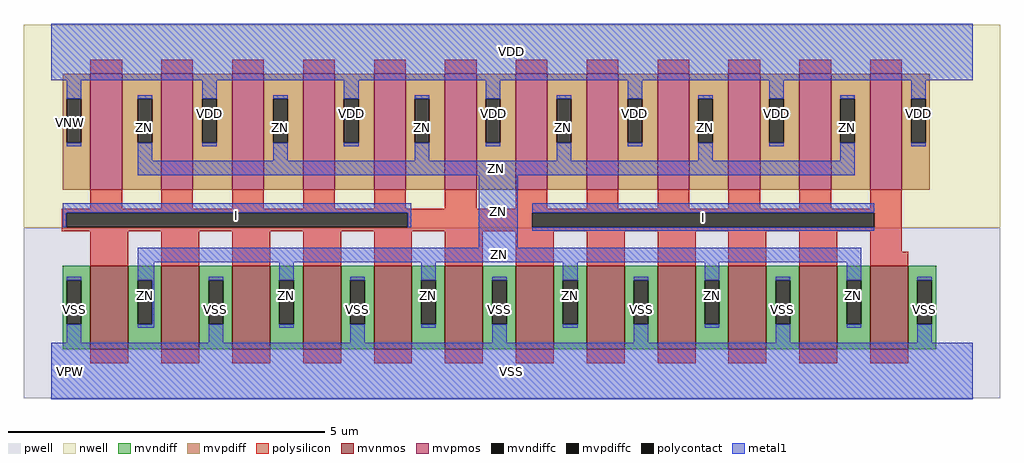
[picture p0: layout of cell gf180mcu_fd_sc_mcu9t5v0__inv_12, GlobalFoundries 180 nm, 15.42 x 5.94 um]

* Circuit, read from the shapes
.subckt gf180mcu_fd_sc_mcu9t5v0__inv_12 I ZN VDD VNW VPW VSS
XM1 ZN I VSS VPW nfet_06v0 w=1.32u l=0.6u m=12
XM2 ZN I VDD VNW pfet_06v0 w=1.83u l=0.5u m=12
.ends

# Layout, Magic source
magic
tech gf180mcuD
magscale 1 10
<< nwell >>
rect -86 453 2998 1094
<< pwell >>
rect -86 -86 2998 453
<< mvnmos >>
rect 124 69 244 333
rect 348 69 468 333
rect 572 69 692 333
rect 796 69 916 333
rect 1020 69 1140 333
rect 1244 69 1364 333
rect 1468 69 1588 333
rect 1692 69 1812 333
rect 1916 69 2036 333
rect 2140 69 2260 333
rect 2364 69 2484 333
rect 2588 69 2708 333
<< mvpmos >>
rect 124 573 224 939
rect 348 573 448 939
rect 572 573 672 939
rect 796 573 896 939
rect 1020 573 1120 939
rect 1244 573 1344 939
rect 1468 573 1568 939
rect 1692 573 1792 939
rect 1916 573 2016 939
rect 2140 573 2240 939
rect 2364 573 2464 939
rect 2588 573 2688 939
<< mvndiff >>
rect 36 287 124 333
rect 36 147 49 287
rect 95 147 124 287
rect 36 69 124 147
rect 244 287 348 333
rect 244 147 273 287
rect 319 147 348 287
rect 244 69 348 147
rect 468 287 572 333
rect 468 147 497 287
rect 543 147 572 287
rect 468 69 572 147
rect 692 287 796 333
rect 692 147 721 287
rect 767 147 796 287
rect 692 69 796 147
rect 916 287 1020 333
rect 916 147 945 287
rect 991 147 1020 287
rect 916 69 1020 147
rect 1140 287 1244 333
rect 1140 147 1169 287
rect 1215 147 1244 287
rect 1140 69 1244 147
rect 1364 287 1468 333
rect 1364 147 1393 287
rect 1439 147 1468 287
rect 1364 69 1468 147
rect 1588 287 1692 333
rect 1588 147 1617 287
rect 1663 147 1692 287
rect 1588 69 1692 147
rect 1812 287 1916 333
rect 1812 147 1841 287
rect 1887 147 1916 287
rect 1812 69 1916 147
rect 2036 287 2140 333
rect 2036 147 2065 287
rect 2111 147 2140 287
rect 2036 69 2140 147
rect 2260 287 2364 333
rect 2260 147 2289 287
rect 2335 147 2364 287
rect 2260 69 2364 147
rect 2484 287 2588 333
rect 2484 147 2513 287
rect 2559 147 2588 287
rect 2484 69 2588 147
rect 2708 287 2796 333
rect 2708 147 2737 287
rect 2783 147 2796 287
rect 2708 69 2796 147
<< mvpdiff >>
rect 36 861 124 939
rect 36 721 49 861
rect 95 721 124 861
rect 36 573 124 721
rect 224 861 348 939
rect 224 721 273 861
rect 319 721 348 861
rect 224 573 348 721
rect 448 861 572 939
rect 448 721 477 861
rect 523 721 572 861
rect 448 573 572 721
rect 672 861 796 939
rect 672 721 701 861
rect 747 721 796 861
rect 672 573 796 721
rect 896 861 1020 939
rect 896 721 925 861
rect 971 721 1020 861
rect 896 573 1020 721
rect 1120 861 1244 939
rect 1120 721 1149 861
rect 1195 721 1244 861
rect 1120 573 1244 721
rect 1344 861 1468 939
rect 1344 721 1373 861
rect 1419 721 1468 861
rect 1344 573 1468 721
rect 1568 861 1692 939
rect 1568 721 1597 861
rect 1643 721 1692 861
rect 1568 573 1692 721
rect 1792 861 1916 939
rect 1792 721 1821 861
rect 1867 721 1916 861
rect 1792 573 1916 721
rect 2016 861 2140 939
rect 2016 721 2045 861
rect 2091 721 2140 861
rect 2016 573 2140 721
rect 2240 861 2364 939
rect 2240 721 2269 861
rect 2315 721 2364 861
rect 2240 573 2364 721
rect 2464 861 2588 939
rect 2464 721 2493 861
rect 2539 721 2588 861
rect 2464 573 2588 721
rect 2688 861 2776 939
rect 2688 721 2717 861
rect 2763 721 2776 861
rect 2688 573 2776 721
<< mvndiffc >>
rect 49 147 95 287
rect 273 147 319 287
rect 497 147 543 287
rect 721 147 767 287
rect 945 147 991 287
rect 1169 147 1215 287
rect 1393 147 1439 287
rect 1617 147 1663 287
rect 1841 147 1887 287
rect 2065 147 2111 287
rect 2289 147 2335 287
rect 2513 147 2559 287
rect 2737 147 2783 287
<< mvpdiffc >>
rect 49 721 95 861
rect 273 721 319 861
rect 477 721 523 861
rect 701 721 747 861
rect 925 721 971 861
rect 1149 721 1195 861
rect 1373 721 1419 861
rect 1597 721 1643 861
rect 1821 721 1867 861
rect 2045 721 2091 861
rect 2269 721 2315 861
rect 2493 721 2539 861
rect 2717 721 2763 861
<< polysilicon >>
rect 124 939 224 983
rect 348 939 448 983
rect 572 939 672 983
rect 796 939 896 983
rect 1020 939 1120 983
rect 1244 939 1344 983
rect 1468 939 1568 983
rect 1692 939 1792 983
rect 1916 939 2016 983
rect 2140 939 2240 983
rect 2364 939 2464 983
rect 2588 939 2688 983
rect 124 513 224 573
rect 348 513 448 573
rect 572 513 672 573
rect 796 513 896 573
rect 1020 513 1120 573
rect 1244 513 1344 573
rect 1468 513 1568 573
rect 1692 513 1792 573
rect 1916 513 2016 573
rect 2140 513 2240 573
rect 2364 513 2464 573
rect 2588 513 2688 573
rect 34 500 2688 513
rect 34 454 47 500
rect 1127 454 1520 500
rect 2600 454 2688 500
rect 34 441 2688 454
rect 124 333 244 441
rect 348 333 468 441
rect 572 333 692 441
rect 796 333 916 441
rect 1020 333 1140 441
rect 1244 333 1364 441
rect 1468 333 1588 441
rect 1692 333 1812 441
rect 1916 333 2036 441
rect 2140 333 2260 441
rect 2364 333 2484 441
rect 2588 377 2688 441
rect 2588 333 2708 377
rect 124 25 244 69
rect 348 25 468 69
rect 572 25 692 69
rect 796 25 916 69
rect 1020 25 1140 69
rect 1244 25 1364 69
rect 1468 25 1588 69
rect 1692 25 1812 69
rect 1916 25 2036 69
rect 2140 25 2260 69
rect 2364 25 2484 69
rect 2588 25 2708 69
<< polycontact >>
rect 47 454 1127 500
rect 1520 454 2600 500
<< metal1 >>
rect 0 918 2912 1098
rect 49 861 95 918
rect 49 710 95 721
rect 273 861 319 872
rect 273 664 319 721
rect 477 861 523 918
rect 477 710 523 721
rect 701 861 747 872
rect 701 664 747 721
rect 925 861 971 918
rect 925 710 971 721
rect 1149 861 1195 872
rect 1149 664 1195 721
rect 1373 861 1419 918
rect 1373 710 1419 721
rect 1597 861 1643 872
rect 1597 664 1643 721
rect 1821 861 1867 918
rect 1821 710 1867 721
rect 2045 861 2091 872
rect 2045 664 2091 721
rect 2269 861 2315 918
rect 2269 710 2315 721
rect 2493 861 2539 872
rect 2493 664 2539 721
rect 2717 861 2763 918
rect 2717 710 2763 721
rect 273 618 2539 664
rect 36 500 1138 530
rect 36 454 47 500
rect 1127 454 1138 500
rect 1351 390 1474 618
rect 1520 500 2600 530
rect 1520 443 2600 454
rect 273 344 2559 390
rect 49 287 95 298
rect 49 90 95 147
rect 273 287 325 344
rect 319 147 325 287
rect 273 136 325 147
rect 497 287 543 298
rect 497 90 543 147
rect 721 287 767 344
rect 721 136 767 147
rect 945 287 991 298
rect 945 90 991 147
rect 1169 287 1215 344
rect 1169 136 1215 147
rect 1393 287 1439 298
rect 1393 90 1439 147
rect 1617 287 1663 344
rect 1617 136 1663 147
rect 1841 287 1887 298
rect 1841 90 1887 147
rect 2065 287 2111 344
rect 2065 136 2111 147
rect 2289 287 2335 298
rect 2289 90 2335 147
rect 2513 287 2559 344
rect 2513 136 2559 147
rect 2737 287 2783 298
rect 2737 90 2783 147
rect 0 -90 2912 90
<< labels >>
flabel metal1 s 36 454 1138 530 0 FreeSans 200 0 0 0 I
port 1 nsew default input
flabel metal1 s 0 918 2912 1098 0 FreeSans 200 0 0 0 VDD
port 3 nsew power bidirectional abutment
flabel metal1 s 2737 90 2783 298 0 FreeSans 200 0 0 0 VSS
port 6 nsew ground bidirectional abutment
flabel metal1 s 2493 664 2539 872 0 FreeSans 200 0 0 0 ZN
port 2 nsew default output
flabel nwell s 10 734 110 834 0 FreeSans 400 0 0 0 VNW
port 4 nsew power bidirectional
flabel pwell s 10 -50 110 50 0 FreeSans 400 0 0 0 VPW
port 5 nsew ground bidirectional
rlabel metal1 s 1520 443 2600 530 1 I
port 1 nsew default input
rlabel metal1 s 2045 664 2091 872 1 ZN
port 2 nsew default output
rlabel metal1 s 1597 664 1643 872 1 ZN
port 2 nsew default output
rlabel metal1 s 1149 664 1195 872 1 ZN
port 2 nsew default output
rlabel metal1 s 701 664 747 872 1 ZN
port 2 nsew default output
rlabel metal1 s 273 664 319 872 1 ZN
port 2 nsew default output
rlabel metal1 s 273 618 2539 664 1 ZN
port 2 nsew default output
rlabel metal1 s 1351 390 1474 618 1 ZN
port 2 nsew default output
rlabel metal1 s 273 344 2559 390 1 ZN
port 2 nsew default output
rlabel metal1 s 2513 136 2559 344 1 ZN
port 2 nsew default output
rlabel metal1 s 2065 136 2111 344 1 ZN
port 2 nsew default output
rlabel metal1 s 1617 136 1663 344 1 ZN
port 2 nsew default output
rlabel metal1 s 1169 136 1215 344 1 ZN
port 2 nsew default output
rlabel metal1 s 721 136 767 344 1 ZN
port 2 nsew default output
rlabel metal1 s 273 136 325 344 1 ZN
port 2 nsew default output
rlabel metal1 s 2717 710 2763 918 1 VDD
port 3 nsew power bidirectional abutment
rlabel metal1 s 2269 710 2315 918 1 VDD
port 3 nsew power bidirectional abutment
rlabel metal1 s 1821 710 1867 918 1 VDD
port 3 nsew power bidirectional abutment
rlabel metal1 s 1373 710 1419 918 1 VDD
port 3 nsew power bidirectional abutment
rlabel metal1 s 925 710 971 918 1 VDD
port 3 nsew power bidirectional abutment
rlabel metal1 s 477 710 523 918 1 VDD
port 3 nsew power bidirectional abutment
rlabel metal1 s 49 710 95 918 1 VDD
port 3 nsew power bidirectional abutment
rlabel metal1 s 2289 90 2335 298 1 VSS
port 6 nsew ground bidirectional abutment
rlabel metal1 s 1841 90 1887 298 1 VSS
port 6 nsew ground bidirectional abutment
rlabel metal1 s 1393 90 1439 298 1 VSS
port 6 nsew ground bidirectional abutment
rlabel metal1 s 945 90 991 298 1 VSS
port 6 nsew ground bidirectional abutment
rlabel metal1 s 497 90 543 298 1 VSS
port 6 nsew ground bidirectional abutment
rlabel metal1 s 49 90 95 298 1 VSS
port 6 nsew ground bidirectional abutment
rlabel metal1 s 0 -90 2912 90 1 VSS
port 6 nsew ground bidirectional abutment
<< properties >>
string FIXED_BBOX 0 0 2912 1008
string GDS_END 895486
string GDS_FILE $PDKPATH/libs.ref/gf180mcu_fd_sc_mcu9t5v0/gds/gf180mcu_fd_sc_mcu9t5v0.gds
string GDS_START 887368
string LEFclass core
string LEFsite GF018hv5v_green_sc9
string LEFsymmetry X Y
<< end >>
